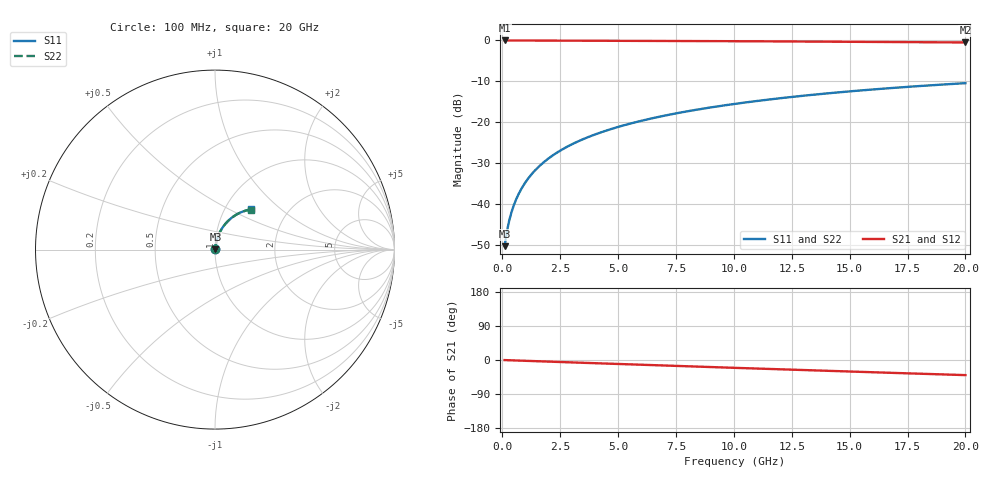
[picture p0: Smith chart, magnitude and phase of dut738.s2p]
! Touchstone file exported from HFSS 2026.1.0
!  File:  C:/ffzhzh/LocalFiles/Ansys_Project_Files/temp_train_BSMRDL_738_1783168646_55132.aedt
!  Generated:  08:38:41 PM Jul  4, 2026
!  Design:  BSMRDL
!  Project:  temp_train_BSMRDL_738_1783168646_55132
! Variables:
!  h_bsmrdl = 4.58um
!  h_ox = 20um
!  h_rdl = 5um
!  h_sub = 80um
!  h_tmrdl = 5um
!  h_tsv = 80um
!  h_via = 3um
!  l_bsmrdl = 622.73um
!  l_sub = 1022.73um
!  l_tmrdl = 200um
!  m_sub = 200um
!  pitch = 42.89um
!  r_tsv = 6um
!  s_tmrdl = 10um
!  w_bsmrdl = 23.12um
!  w_sub = 500um
!  w_tmrdl = 12um
!  x_tsv_center1 = 206um
!  x_tsv_center2 = 851.85um
!  x_tsv_center3 = 1063.85um
!  x_tsv_center4 = 1709.7um
!  x_tsv_center5 = 1921.7um
!  x_tsv_center6 = 2567.55um
# GHz S MA R 50.000000
! Terminal data exported
! Port[1] = BSM_RDL1_1_T1
! Port[2] = BSM_RDL1_1_T2
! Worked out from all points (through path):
!   200 points, 100 MHz to 20 GHz, reference 50 ohm
!   highest |S21| = -0.02 dB at 100 MHz (marker M1); lowest = -0.5 dB at 20 GHz (marker M2)
!   group delay of S21, straight-line fit = 5.53 ps
!   lowest |S11| = -50.3 dB at 100 MHz (marker M3), VSWR 1.01, Z = 50.2 + j0.205 ohm
!   |S11| at or under -10 dB: start of sweep to end of sweep
!   |S22| runs from -50.3 to -10.5 dB; largest |S21 - S12| = 3.3e-15
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0.1  0.003065 41.7  0.9977 -0.2  0.9977 -0.2  0.003065 41.7
! Gamma 0 0 0 0
! Port Impedance 50 0 50 0
0.2  0.004655 57.7  0.9975 -0.4  0.9975 -0.4  0.004655 57.7
0.3  0.006324 65.1  0.9974 -0.7  0.9974 -0.7  0.006324 65.1
0.4  0.008014 69.5  0.9973 -0.9  0.9973 -0.9  0.008014 69.5
0.5  0.009724 72.4  0.9972 -1.1  0.9972 -1.1  0.009724 72.4
0.6  0.01145 74.4  0.9971 -1.3  0.9971 -1.3  0.01145 74.4
0.8  0.01495 77.1  0.997 -1.7  0.997 -1.7  0.01495 77.1
1.1  0.02026 79.0  0.9968 -2.4  0.9968 -2.4  0.02026 79.0
1.5  0.02735 80.0  0.9964 -3.2  0.9964 -3.2  0.02735 80.0
1.8  0.03267 80.2  0.9961 -3.8  0.9961 -3.8  0.03267 80.2
2.1  0.03797 80.1  0.9957 -4.5  0.9957 -4.5  0.03797 80.1
2.7  0.04848 79.6  0.9948 -5.7  0.9948 -5.7  0.04848 79.6
3.5  0.06231 78.4  0.9935 -7.4  0.9935 -7.4  0.06231 78.4
4.2  0.07423 77.2  0.9922 -8.8  0.9922 -8.8  0.07423 77.2
5  0.08765 75.8  0.9905 -10.5  0.9905 -10.5  0.08764 75.8
5.9  0.1025 74.2  0.9885 -12.3  0.9885 -12.3  0.1025 74.2
6.8  0.1171 72.5  0.9863 -14.2  0.9863 -14.2  0.1171 72.5
8.3  0.1409 69.7  0.9824 -17.2  0.9824 -17.2  0.1409 69.7
10.1  0.1685 66.3  0.9773 -20.8  0.9773 -20.8  0.1685 66.3
13.4  0.2164 60.2  0.9668 -27.3  0.9668 -27.3  0.2164 60.2
16.7  0.2605 54.1  0.9552 -33.7  0.9552 -33.7  0.2605 54.1
20  0.3002 48.1  0.943 -39.9  0.943 -39.9  0.3002 48.1
